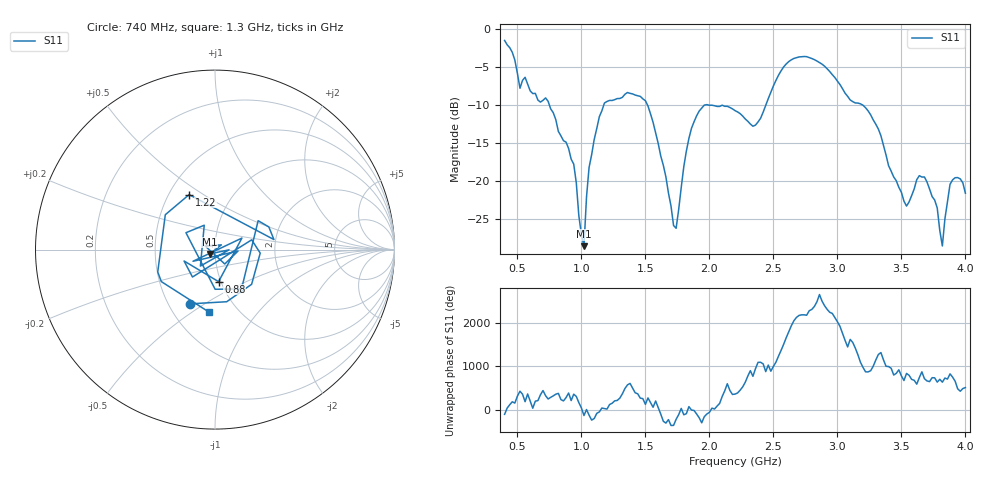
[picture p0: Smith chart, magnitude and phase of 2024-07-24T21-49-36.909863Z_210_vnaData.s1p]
!Created with skrf (http://scikit-rf.org).
# Hz S RI R 50.0
!freq ReS11 ImS11
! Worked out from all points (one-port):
!   181 points, 400 MHz to 4 GHz, reference 50 ohm
!   lowest |S11| = -28.6 dB at 1.02 GHz (marker M1), VSWR 1.08, Z = 47.2 - j2.25 ohm
!   |S11| at or under -10 dB: 1.516 GHz to 1.969 GHz (452.8 MHz wide, 26 % of centre); 1.988 GHz to 2.441 GHz (452.9 MHz wide, 20.4 % of centre); 3.195 GHz to end of sweep (the widest 3 of 4)
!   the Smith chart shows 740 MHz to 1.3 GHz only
!   S11 on the Smith chart (normalised r, x): 740 MHz: 0.64, -0.43; 880 MHz: 0.98, -0.36; 1.22 GHz: 0.63, +0.44; 1.3 GHz: 0.74, -0.58
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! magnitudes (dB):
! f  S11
! 400 MHz  -1.5
! 520 MHz  -7.8
! 740 MHz  -9.5
! 860 MHz  -14.7
! 880 MHz  -14.9
! 940 MHz  -17.8
! 1.02 GHz  -28.6
! 1.06 GHz  -18.2
! 1.14 GHz  -11.6
! 1.22 GHz  -9.4
! 1.3 GHz  -9.2
! 1.5 GHz  -9.4
! 1.72 GHz  -25.9
! 1.76 GHz  -23.8
! 1.84 GHz  -14.4
! 1.92 GHz  -10.8
! 2.2 GHz  -10.8
! 2.36 GHz  -12.7
! 2.66 GHz  -3.9
! 2.88 GHz  -4.6
! 3.1 GHz  -9.3
! 3.26 GHz  -11.3
! 3.56 GHz  -22.8
! 3.68 GHz  -19.5
! 3.78 GHz  -23.6
! 3.82 GHz  -28.6
! 3.88 GHz  -20.5
! 4 GHz  -21.6
